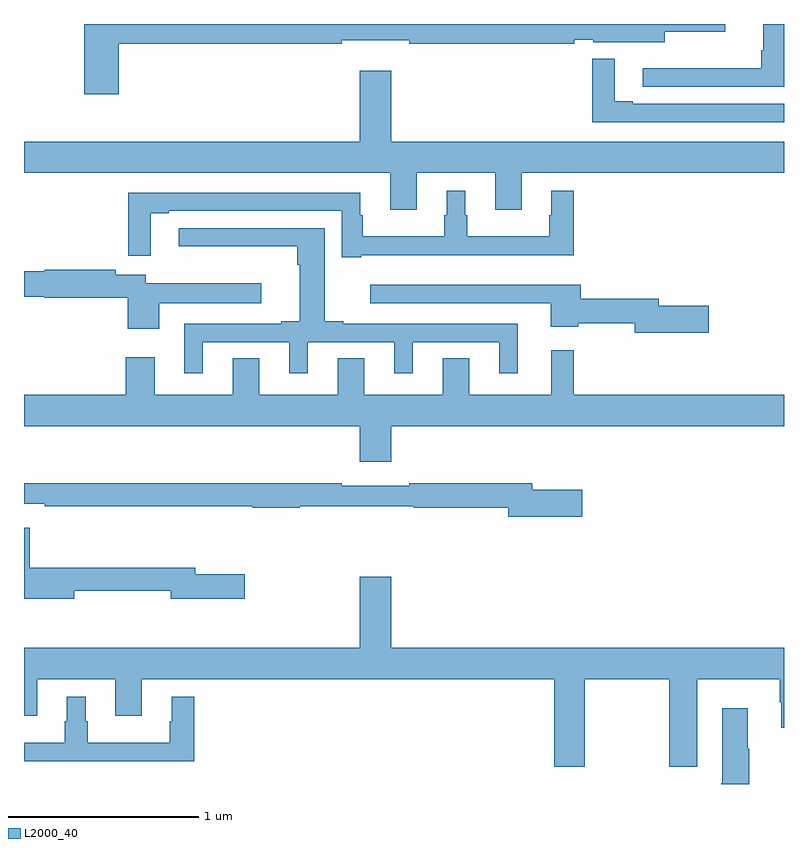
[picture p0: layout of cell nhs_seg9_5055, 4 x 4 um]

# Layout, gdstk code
import gdstk
lib = gdstk.Library(unit=1e-6, precision=1e-09)
def P(c, l, *ps):  # polygons
    for p in ps: c.add(gdstk.Polygon(p, *l))
L2000_40 = (2000, 40)

nhs_seg9_5055 = lib.new_cell('nhs_seg9_5055')
P(nhs_seg9_5055, L2000_40, [(407,1234.5),(406.892,1234.5),(406.892,1234.363),(406.88,1234.363),(406.88,1234.268),(406.257,1234.268),(406.257,1234.17),(407,1234.17)],
  [(403.499,1234.396),(404.672,1234.396),(404.672,1234.415),(405.028,1234.415),(405.028,1234.396),(405.896,1234.396),(405.896,1234.416),(405.996,1234.416),(405.996,1234.403),(406.372,1234.403),(406.372,1234.46),(406.69,1234.46),(406.69,1234.5),(403.316,1234.5),(403.316,1234.131),(403.499,1234.131)],
  [(407,1234.08),(406.204,1234.08),(406.204,1234.093),(406.108,1234.093),(406.108,1234.318),(405.991,1234.318),(405.991,1233.984),(407,1233.984)],
  [(405.067,1233.716),(405.479,1233.716),(405.479,1233.522),(405.619,1233.522),(405.619,1233.716),(407,1233.716),(407,1233.88),(404.932,1233.88),(404.932,1234.255),(404.768,1234.255),(404.768,1233.88),(403,1233.88),(403,1233.716),(404.927,1233.716),(404.927,1233.522),(405.067,1233.522)],
  [(404.776,1233.284),(405.893,1233.284),(405.893,1233.622),(405.776,1233.622),(405.776,1233.494),(405.765,1233.494),(405.765,1233.382),(405.334,1233.382),(405.334,1233.494),(405.322,1233.494),(405.322,1233.622),(405.224,1233.622),(405.224,1233.494),(405.213,1233.494),(405.213,1233.382),(404.782,1233.382),(404.782,1233.494),(404.77,1233.494),(404.77,1233.612),(403.549,1233.612),(403.549,1233.279),(403.666,1233.279),(403.666,1233.504),(403.762,1233.504),(403.762,1233.516),(404.673,1233.516),(404.673,1233.273),(404.776,1233.273)],
  [(403.942,1232.826),(404.396,1232.826),(404.396,1232.661),(404.494,1232.661),(404.494,1232.826),(404.948,1232.826),(404.948,1232.661),(405.046,1232.661),(405.046,1232.826),(405.5,1232.826),(405.5,1232.661),(405.599,1232.661),(405.599,1232.922),(404.68,1232.922),(404.68,1232.935),(404.584,1232.935),(404.584,1233.426),(403.815,1233.426),(403.815,1233.329),(404.438,1233.329),(404.438,1233.233),(404.45,1233.233),(404.45,1232.935),(404.354,1232.935),(404.354,1232.922),(403.844,1232.922),(403.844,1232.661),(403.942,1232.661)],
  [(403.711,1233.029),(404.248,1233.029),(404.248,1233.136),(403.641,1233.136),(403.641,1233.181),(403.482,1233.181),(403.482,1233.206),(403.11,1233.206),(403.11,1233.2),(403,1233.2),(403,1233.064),(403.11,1233.064),(403.11,1233.059),(403.545,1233.059),(403.545,1232.895),(403.711,1232.895)],
  [(406.603,1233.017),(406.342,1233.017),(406.342,1233.053),(405.929,1233.053),(405.929,1233.127),(404.823,1233.127),(404.823,1233.03),(405.773,1233.03),(405.773,1232.906),(405.916,1232.906),(405.916,1232.925),(406.214,1232.925),(406.214,1232.875),(406.603,1232.875)],
  [(407,1232.548),(405.893,1232.548),(405.893,1232.782),(405.776,1232.782),(405.776,1232.548),(405.343,1232.548),(405.343,1232.741),(405.203,1232.741),(405.203,1232.548),(404.791,1232.548),(404.791,1232.741),(404.651,1232.741),(404.651,1232.548),(404.239,1232.548),(404.239,1232.741),(404.099,1232.741),(404.099,1232.548),(403.687,1232.548),(403.687,1232.746),(403.535,1232.746),(403.535,1232.548),(403,1232.548),(403,1232.384),(404.768,1232.384),(404.768,1232.196),(404.932,1232.196),(404.932,1232.384),(407,1232.384)],
  [(405.937,1232.049),(405.676,1232.049),(405.676,1232.083),(405.028,1232.083),(405.028,1232.07),(404.672,1232.07),(404.672,1232.083),(403,1232.083),(403,1231.974),(403.108,1231.974),(403.108,1231.962),(404.204,1231.962),(404.204,1231.954),(404.452,1231.954),(404.452,1231.962),(405.052,1231.962),(405.052,1231.954),(405.548,1231.954),(405.548,1231.907),(405.937,1231.907)],
  [(403.264,1231.518),(403.772,1231.518),(403.772,1231.475),(404.161,1231.475),(404.161,1231.605),(403.9,1231.605),(403.9,1231.639),(403.031,1231.639),(403.031,1231.848),(403,1231.848),(403,1231.475),(403.264,1231.475)],
  [(405.951,1231.052),(406.396,1231.052),(406.396,1230.591),(406.543,1230.591),(406.543,1231.052),(406.978,1231.052),(406.978,1230.93),(406.985,1230.93),(406.985,1230.796),(407,1230.796),(407,1231.216),(404.932,1231.216),(404.932,1231.591),(404.768,1231.591),(404.768,1231.216),(403,1231.216),(403,1230.858),(403.069,1230.858),(403.069,1231.052),(403.481,1231.052),(403.481,1230.858),(403.621,1230.858),(403.621,1231.052),(405.791,1231.052),(405.791,1230.591),(405.951,1230.591)],
  [(403.895,1230.958),(403.778,1230.958),(403.778,1230.83),(403.767,1230.83),(403.767,1230.718),(403.336,1230.718),(403.336,1230.83),(403.324,1230.83),(403.324,1230.958),(403.226,1230.958),(403.226,1230.83),(403.215,1230.83),(403.215,1230.718),(403,1230.718),(403,1230.62),(403.895,1230.62)],
  [(406.818,1230.685),(406.81,1230.685),(406.81,1230.898),(406.676,1230.898),(406.676,1230.503),(406.669,1230.503),(406.669,1230.5),(406.818,1230.5)])

lib.write_gds('nhs_seg9_5055.gds')
